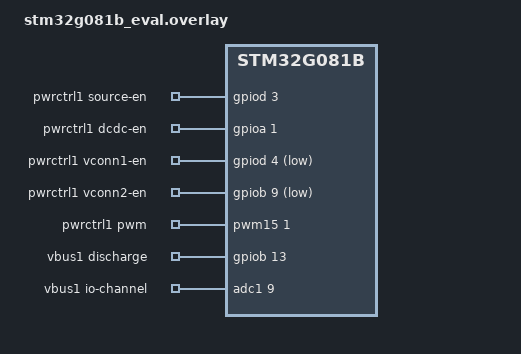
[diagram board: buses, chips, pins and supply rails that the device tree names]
/*
 * Copyright (c) 2023 The Chromium OS Authors.
 *
 * SPDX-License-Identifier: Apache-2.0
 *
 */

#include <zephyr/dt-bindings/usb-c/pd.h>

/ {
	aliases {
		usbc-port0 = &port1;
		usbc-port0-pwrctrl = &pwrctrl1;
	};

	/* usbc.rst pwrctrl start */
	pwrctrl1: pwrctrl {
		compatible = "zephyr,usb-c-pwrctrl";

		/* Pin D3 is used to enable VBUS Source */
		source-en-gpios = <&gpiod 3 GPIO_ACTIVE_HIGH>;

		/* Pin A1 is used for DCDC_EN */
		dcdc-en-gpios = <&gpioa 1 GPIO_ACTIVE_HIGH>;

		/* Pin D4 enables VCONN on CC1 */
		vconn1-en-gpios = <&gpiod 4 GPIO_ACTIVE_LOW>;

		/* Pin B9 enables VCONN on CC2 */
		vconn2-en-gpios = <&gpiob 9 GPIO_ACTIVE_LOW>;

		/* PWM for voltage selection */
		pwms = <&pwm15 1 PWM_USEC(50) PWM_POLARITY_INVERTED>;
	};
	/* usbc.rst pwrctrl end */

	/* usbc.rst vbus-voltage-divider-adc start */
	vbus1: vbus {
		compatible = "zephyr,usb-c-vbus-adc";
		io-channels = <&adc1 9>;
		output-ohms = <49900>;
		full-ohms = <(330000 + 49900)>;

		/* Pin B13 is used to control VBUS Discharge for Port1 */
		discharge-gpios = <&gpiob 13 GPIO_ACTIVE_HIGH>;
	};
	/* usbc.rst vbus-voltage-divider-adc end */

	ports {
		#address-cells = <1>;
		#size-cells = <0>;

		/* usbc.rst usbc-port start */
		port1: usbc-port@1 {
			compatible = "usb-c-connector";
			reg = <1>;
			tcpc = <&ucpd1>;
			vbus = <&vbus1>;
			power-role = "source";
			typec-power-opmode = "3.0A";
			source-pdos = <PDO_FIXED(5000, 100, 0) PDO_FIXED(9000, 100, 0)
				       PDO_FIXED(15000, 100, 0)>;
		};
		/* usbc.rst usbc-port end */
	};
};
